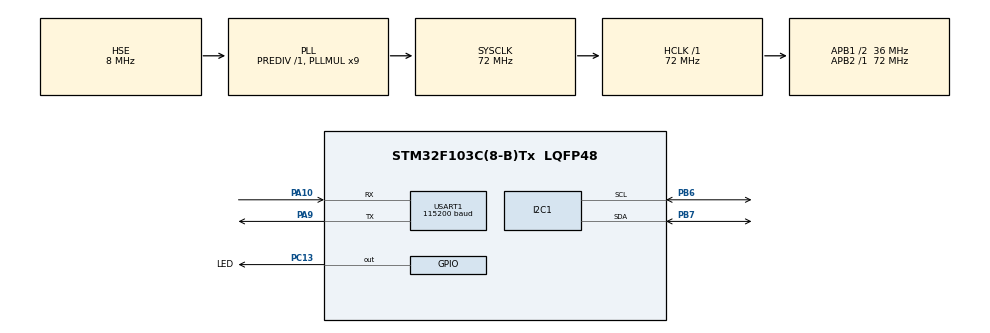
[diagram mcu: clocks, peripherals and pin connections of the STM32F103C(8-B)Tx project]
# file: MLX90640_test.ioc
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Dma.I2C1_RX.1.Direction=DMA_PERIPH_TO_MEMORY
Dma.I2C1_RX.1.Instance=DMA1_Channel7
Dma.I2C1_RX.1.MemDataAlignment=DMA_MDATAALIGN_BYTE
Dma.I2C1_RX.1.MemInc=DMA_MINC_ENABLE
Dma.I2C1_RX.1.Mode=DMA_NORMAL
Dma.I2C1_RX.1.PeriphDataAlignment=DMA_PDATAALIGN_BYTE
Dma.I2C1_RX.1.PeriphInc=DMA_PINC_DISABLE
Dma.I2C1_RX.1.Priority=DMA_PRIORITY_LOW
Dma.Request0=USART1_TX
Dma.Request1=I2C1_RX
Dma.USART1_TX.0.Direction=DMA_MEMORY_TO_PERIPH
Dma.USART1_TX.0.Instance=DMA1_Channel4
Dma.USART1_TX.0.MemDataAlignment=DMA_MDATAALIGN_BYTE
Dma.USART1_TX.0.MemInc=DMA_MINC_ENABLE
Dma.USART1_TX.0.Mode=DMA_NORMAL
Dma.USART1_TX.0.PeriphDataAlignment=DMA_PDATAALIGN_BYTE
Dma.USART1_TX.0.PeriphInc=DMA_PINC_DISABLE
Dma.USART1_TX.0.Priority=DMA_PRIORITY_LOW
I2C1.DutyCycle=I2C_DUTYCYCLE_16_9
I2C1.I2C_Mode=I2C_Fast
Mcu.Family=STM32F1
Mcu.Name=STM32F103C(8-B)Tx
Mcu.Package=LQFP48
NVIC.DMA1_Channel4_IRQn=true\:0\:0\:false\:false\:true\:false\:true\:true
NVIC.DMA1_Channel7_IRQn=true\:0\:0\:false\:false\:true\:false\:true\:true
NVIC.PriorityGroup=NVIC_PRIORITYGROUP_4
NVIC.USART1_IRQn=true\:0\:0\:false\:false\:true\:true\:true\:true
PA10.Mode=Asynchronous
PA10.Signal=USART1_RX
PA13.Mode=Serial_Wire
PA13.Signal=SYS_JTMS-SWDIO
PA14.Mode=Serial_Wire
PA14.Signal=SYS_JTCK-SWCLK
PA9.Mode=Asynchronous
PA9.Signal=USART1_TX
PB6.Mode=I2C
PB6.Signal=I2C1_SCL
PB7.Mode=I2C
PB7.Signal=I2C1_SDA
PC13-TAMPER-RTC.GPIO_Label=LED
PC13-TAMPER-RTC.Signal=GPIO_Output
PC14-OSC32_IN.Mode=LSE-External-Oscillator
PC14-OSC32_IN.Signal=RCC_OSC32_IN
PC15-OSC32_OUT.Mode=LSE-External-Oscillator
PC15-OSC32_OUT.Signal=RCC_OSC32_OUT
PD0-OSC_IN.Mode=HSE-External-Oscillator
PD0-OSC_IN.Signal=RCC_OSC_IN
PD1-OSC_OUT.Mode=HSE-External-Oscillator
PD1-OSC_OUT.Signal=RCC_OSC_OUT
ProjectManager.HeapSize=0x200
ProjectManager.StackSize=0x400
ProjectManager.TargetToolchain=STM32CubeIDE
RCC.AHBFreq_Value=72000000
RCC.APB1CLKDivider=RCC_HCLK_DIV2
RCC.APB1Freq_Value=36000000
RCC.APB1TimFreq_Value=72000000
RCC.APB2Freq_Value=72000000
RCC.APB2TimFreq_Value=72000000
RCC.HCLKFreq_Value=72000000
RCC.PLLMUL=RCC_PLL_MUL9
RCC.PLLSourceVirtual=RCC_PLLSOURCE_HSE
RCC.SYSCLKFreq_VALUE=72000000
RCC.SYSCLKSource=RCC_SYSCLKSOURCE_PLLCLK
RCC.USBFreq_Value=72000000
USART1.BaudRate=115200
USART1.VirtualMode=VM_ASYNC
board=custom

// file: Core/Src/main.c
/* USER CODE BEGIN Header */
/**
  ******************************************************************************
  * @file           : main.c
  * @brief          : Main program body
  ******************************************************************************
  * @attention
  *
  * Copyright (c) 2026 STMicroelectronics.
  * All rights reserved.
  *
  * This software is licensed under terms that can be found in the LICENSE file
  * in the root directory of this software component.
  * If no LICENSE file comes with this software, it is provided AS-IS.
  *
  ******************************************************************************
  */
/* USER CODE END Header */
#include "main.h"
#include "dma.h"
#include "i2c.h"
#include "usart.h"
#include "gpio.h"

/* USER CODE BEGIN Includes */
#include "MLX90640_API.h"
#include "MLX90640_I2C_Driver.h"
#include <stdint.h>
#include <string.h>
/* USER CODE END Includes */

/* USER CODE BEGIN PTD */
typedef struct
{
  uint16_t EeData[832];
  uint16_t FrameData[834];
  float TempMap[768];
  paramsMLX90640 Params;
} MLX90640_RuntimeData_t;

/* USER CODE END PTD */

/* USER CODE BEGIN PD */
#define UART_LINE_BUFFER_SIZE 512U

/* USER CODE END PD */

/* USER CODE BEGIN PV */
static MLX90640_RuntimeData_t mlx90640Runtime;
uint16_t i = 0;
uint16_t row = 0;
uint16_t col = 0;
float ta = 0.0;
float tr = 0.0;
int status = 0;
volatile uint8_t uartTxDone = 1;
static char uartLineBuffer[UART_LINE_BUFFER_SIZE];
static uint8_t mlx90640SensorReady[MLX90640_SENSOR_NUM];
/* USER CODE END PV */

void SystemClock_Config(void);
/* USER CODE BEGIN PFP */
static int MLX90640_InitSensor(void);
static int MLX90640_InitSensorOnChannel(uint8_t sensorIndex);
static int MLX90640_LoadParametersOnChannel(uint8_t sensorIndex);
static void UART_SendString(const char *text);
static void UART_SendInt(int value);
static void UART_SendHexByte(uint8_t value);
static void UART_SendHexWord(uint32_t value);
static void UART_SendInitError(uint8_t sensorIndex, const char *step, int error);
static uint16_t UART_AppendTemperature(char *buffer, uint16_t offset, uint16_t size, float temperature);
/* USER CODE END PFP */

/* USER CODE BEGIN 0 */
static int MLX90640_InitSensor(void)
{
  uint8_t initializedCount = 0U;

  for (uint8_t sensorIndex = 0U; sensorIndex < MLX90640_SENSOR_NUM; sensorIndex++)
  {
    int status = MLX90640_InitSensorOnChannel(sensorIndex);
    if (status != MLX90640_NO_ERROR)
    {
      mlx90640SensorReady[sensorIndex] = 0U;
      continue;
    }

    mlx90640SensorReady[sensorIndex] = 1U;
    initializedCount++;
    UART_SendString("MLX90640 init ok, sensor=");
    UART_SendInt(sensorIndex);
    UART_SendString(", channel=");
    UART_SendHexByte(MLX90640_GetSensorChannel(sensorIndex));
    UART_SendString("\r\n");
  }

  if (initializedCount == 0U)
  {
    return -MLX90640_I2C_WRITE_ERROR;
  }

  return MLX90640_NO_ERROR;
}

static int MLX90640_InitSensorOnChannel(uint8_t sensorIndex)
{
  int status;

  status = MLX90640_LoadParametersOnChannel(sensorIndex);
  if (status != MLX90640_NO_ERROR)
  {
    return status;
  }

  status = MLX90640_SetChessMode(MLX90640_ADDR);
  if (status != MLX90640_NO_ERROR)
  {
    UART_SendInitError(sensorIndex, "set chess mode", status);
    return status;
  }

  status = MLX90640_SetRefreshRate(MLX90640_ADDR, MLX90640_REF_1HZ);
  if (status != MLX90640_NO_ERROR)
  {
    UART_SendInitError(sensorIndex, "set refresh rate", status);
    return status;
  }

  return MLX90640_NO_ERROR;
}

static int MLX90640_LoadParametersOnChannel(uint8_t sensorIndex)
{
  int status;

  status = MLX90640_SelectSensor(sensorIndex);
  if (status != MLX90640_NO_ERROR)
  {
    UART_SendInitError(sensorIndex, "select TCA9548A channel", status);
    return status;
  }

  status = MLX90640_I2CProbe(MLX90640_ADDR);
  UART_SendString("MLX90640 probe, sensor=");
  UART_SendInt(sensorIndex);
  UART_SendString(", channel=");
  UART_SendHexByte(MLX90640_GetSensorChannel(sensorIndex));
  UART_SendString(", status=");
  UART_SendInt(status);
  UART_SendString(", hal=");
  UART_SendInt((int)MLX90640_GetLastHalStatus());
  UART_SendString(", err=");
  UART_SendHexWord(MLX90640_GetLastErrorCode());
  UART_SendString("\r\n");
  if (status != MLX90640_NO_ERROR)
  {
    return status;
  }

  status = MLX90640_DumpEE(MLX90640_ADDR, mlx90640Runtime.EeData);
  if (status != MLX90640_NO_ERROR)
  {
    UART_SendInitError(sensorIndex, "dump EEPROM", status);
    return status;
  }

  status = MLX90640_ExtractParameters(mlx90640Runtime.EeData, &mlx90640Runtime.Params);
  if (status != MLX90640_NO_ERROR)
  {
    UART_SendInitError(sensorIndex, "extract parameters", status);
  }

  return status;
}

static void UART_SendString(const char *text)
{
	uint16_t len = (uint16_t)strlen(text);

	    while (!uartTxDone)
	    {
	    }

	    uartTxDone = 0;
	    if (HAL_UART_Transmit_DMA(&huart1, (uint8_t *)text, len) != HAL_OK)
	    {
	        uartTxDone = 1;
	        return;
	    }

	    while (!uartTxDone)
	    {
	    }
}

void HAL_UART_TxCpltCallback(UART_HandleTypeDef *huart)
{
    if (huart->Instance == USART1)
    {
        uartTxDone = 1;
    }
}

static void UART_SendInt(int value)
{
  char buffer[12];
  uint32_t magnitude;
  uint32_t index = 0;
  uint32_t start = 0;
  char temp;

  if (value < 0)
  {
    buffer[index++] = '-';
    magnitude = (uint32_t)(-value);
    start = 1;
  }
  else
  {
    magnitude = (uint32_t)value;
  }

  do
  {
    buffer[index++] = (char)('0' + (magnitude % 10U));
    magnitude /= 10U;
  } while (magnitude > 0U);

  buffer[index] = '\0';

  for (uint32_t left = start, right = index - 1U; left < right; left++, right--)
  {
    temp = buffer[left];
    buffer[left] = buffer[right];
    buffer[right] = temp;
  }

  UART_SendString(buffer);
}

static void UART_SendHexByte(uint8_t value)
{
  static const char hexDigits[] = "0123456789ABCDEF";
  char buffer[5];

  buffer[0] = '0';
  buffer[1] = 'x';
  buffer[2] = hexDigits[(value >> 4) & 0x0FU];
  buffer[3] = hexDigits[value & 0x0FU];
  buffer[4] = '\0';

  UART_SendString(buffer);
}

static void UART_SendHexWord(uint32_t value)
{
  static const char hexDigits[] = "0123456789ABCDEF";
  char buffer[11];

  buffer[0] = '0';
  buffer[1] = 'x';
  for (uint8_t index = 0U; index < 8U; index++)
  {
    uint8_t shift = (uint8_t)(28U - (index * 4U));
    buffer[2U + index] = hexDigits[(value >> shift) & 0x0FU];
  }
  buffer[10] = '\0';

  UART_SendString(buffer);
}

static void UART_SendInitError(uint8_t sensorIndex, const char *step, int error)
{
  UART_SendString("MLX90640 init error, sensor=");
  UART_SendInt(sensorIndex);
  UART_SendString(", channel=");
  UART_SendHexByte(MLX90640_GetSensorChannel(sensorIndex));
  UART_SendString(", step=");
  UART_SendString(step);
  UART_SendString(", status=");
  UART_SendInt(error);
  UART_SendString(", hal=");
  UART_SendInt((int)TCA9548A_GetLastHalStatus());
  UART_SendString(", err=");
  UART_SendHexWord(TCA9548A_GetLastErrorCode());
  UART_SendString("\r\n");
}

static uint16_t UART_AppendTemperature(char *buffer, uint16_t offset, uint16_t size, float temperature)
{
  int32_t centiDegrees;
  int32_t absValue;
  uint32_t integerPart;
  uint32_t fractionPart;
  char temp[16];
  uint32_t index = 0;

  if (offset >= size)
  {
    return offset;
  }

  if (temperature >= 0.0f)
  {
    centiDegrees = (int32_t)(temperature * 100.0f + 0.5f);
  }
  else
  {
    centiDegrees = (int32_t)(temperature * 100.0f - 0.5f);
  }

  absValue = (centiDegrees < 0) ? -centiDegrees : centiDegrees;
  integerPart = (uint32_t)(absValue / 100);
  fractionPart = (uint32_t)(absValue % 100);

  if (centiDegrees < 0)
  {
    temp[index++] = '-';
  }

  if (integerPart >= 100U)
  {
    temp[index++] = (char)('0' + (integerPart / 100U) % 10U);
  }
  if (integerPart >= 10U)
  {
    temp[index++] = (char)('0' + (integerPart / 10U) % 10U);
  }
  temp[index++] = (char)('0' + (integerPart % 10U));
  temp[index++] = '.';
  temp[index++] = (char)('0' + (fractionPart / 10U));
  temp[index++] = (char)('0' + (fractionPart % 10U));
  temp[index++] = ' ';

  for (uint32_t copyIndex = 0; (copyIndex < index) && (offset < (size - 1U)); copyIndex++)
  {
    buffer[offset++] = temp[copyIndex];
  }

  buffer[offset] = '\0';
  return offset;
}

/* USER CODE END 0 */

int main(void)
{

  /* MCU Configuration--------------------------------------------------------*/

  /* Reset of all peripherals, Initializes the Flash interface and the Systick. */
  HAL_Init();

  /* Configure the system clock */
  SystemClock_Config();

  /* Initialize all configured peripherals */
  MX_GPIO_Init();
  MX_DMA_Init();
  MX_I2C1_Init();
  MX_USART1_UART_Init();
  /* USER CODE BEGIN 2 */
  if (MLX90640_InitSensor() != MLX90640_NO_ERROR)
  {
    UART_SendString("MLX90640 init failed\r\n");
    Error_Handler();
  }

  UART_SendString("MLX90640 initialized\r\n");
  HAL_GPIO_WritePin(LED_GPIO_Port,LED_Pin, GPIO_PIN_SET);
  /* USER CODE END 2 */

  /* Infinite loop */
  /* USER CODE BEGIN WHILE */
//  while (1)
  for(;;)
  {
    uint8_t subPageMask = 0U;
    uint8_t frameAttempts = 0U;

	HAL_GPIO_TogglePin(LED_GPIO_Port,LED_Pin);
    for (uint8_t sensorIndex = 0U; sensorIndex < MLX90640_SENSOR_NUM; sensorIndex++)
    {
      if (mlx90640SensorReady[sensorIndex] == 0U)
      {
        continue;
      }

      subPageMask = 0U;
      frameAttempts = 0U;

      status = MLX90640_LoadParametersOnChannel(sensorIndex);
      if (status != MLX90640_NO_ERROR)
      {
        mlx90640SensorReady[sensorIndex] = 0U;
        continue;
      }

      while ((subPageMask != 0x03U) && (frameAttempts < 4U))
      {
        status = MLX90640_GetFrameData(MLX90640_ADDR, mlx90640Runtime.FrameData);
        if (status < 0)
        {
          UART_SendString("Frame read error: ");
          UART_SendInt(status);
          UART_SendString("\r\n");
          break;
        }

        subPageMask |= (uint8_t)(1U << (mlx90640Runtime.FrameData[833] & 1U));
        ta = MLX90640_GetTa(mlx90640Runtime.FrameData, &mlx90640Runtime.Params);
        tr = ta - MLX90640_TA_SHIFT;
        MLX90640_CalculateTo(
            mlx90640Runtime.FrameData,
            &mlx90640Runtime.Params,
            MLX90640_EMISSIVITY,
            tr,
            mlx90640Runtime.TempMap);
        frameAttempts++;
      }

      if ((status < 0) || (subPageMask != 0x03U))
      {
        continue;
      }

      MLX90640_BadPixelsCorrection(
          mlx90640Runtime.Params.brokenPixels,
          mlx90640Runtime.TempMap,
          1,
          &mlx90640Runtime.Params);
      MLX90640_BadPixelsCorrection(
          mlx90640Runtime.Params.outlierPixels,
          mlx90640Runtime.TempMap,
          1,
          &mlx90640Runtime.Params);

      UART_SendString("----- Sensor ");
      UART_SendInt(sensorIndex);
      UART_SendString(" Temperature Matrix -----\r\n");
      for (row = 0; row < 24; row++)
      {
        uint16_t lineOffset = 0;

        for (col = 0; col < 32; col++)
        {
          i = (uint16_t)(row * 32U + col);
          lineOffset = UART_AppendTemperature(
              uartLineBuffer,
              lineOffset,
              UART_LINE_BUFFER_SIZE,
              mlx90640Runtime.TempMap[i]);
        }

        if (lineOffset < (UART_LINE_BUFFER_SIZE - 2U))
        {
          uartLineBuffer[lineOffset++] = '\r';
          uartLineBuffer[lineOffset++] = '\n';
        }
        uartLineBuffer[lineOffset] = '\0';
        UART_SendString(uartLineBuffer);
      }
      UART_SendString("----- Sensor ");
      UART_SendInt(sensorIndex);
      UART_SendString(" Temperature Matrix End -----\r\n");
    }
    HAL_Delay(125);

    /* USER CODE END WHILE */

  }
}

void SystemClock_Config(void)
{
  RCC_OscInitTypeDef RCC_OscInitStruct = {0};
  RCC_ClkInitTypeDef RCC_ClkInitStruct = {0};

  /** Initializes the RCC Oscillators according to the specified parameters
  * in the RCC_OscInitTypeDef structure.
  */
  RCC_OscInitStruct.OscillatorType = RCC_OSCILLATORTYPE_HSE;
  RCC_OscInitStruct.HSEState = RCC_HSE_ON;
  RCC_OscInitStruct.HSEPredivValue = RCC_HSE_PREDIV_DIV1;
  RCC_OscInitStruct.HSIState = RCC_HSI_ON;
  RCC_OscInitStruct.PLL.PLLState = RCC_PLL_ON;
  RCC_OscInitStruct.PLL.PLLSource = RCC_PLLSOURCE_HSE;
  RCC_OscInitStruct.PLL.PLLMUL = RCC_PLL_MUL9;
  if (HAL_RCC_OscConfig(&RCC_OscInitStruct) != HAL_OK)
  {
    Error_Handler();
  }

  /** Initializes the CPU, AHB and APB buses clocks
  */
  RCC_ClkInitStruct.ClockType = RCC_CLOCKTYPE_HCLK|RCC_CLOCKTYPE_SYSCLK
                              |RCC_CLOCKTYPE_PCLK1|RCC_CLOCKTYPE_PCLK2;
  RCC_ClkInitStruct.SYSCLKSource = RCC_SYSCLKSOURCE_PLLCLK;
  RCC_ClkInitStruct.AHBCLKDivider = RCC_SYSCLK_DIV1;
  RCC_ClkInitStruct.APB1CLKDivider = RCC_HCLK_DIV2;
  RCC_ClkInitStruct.APB2CLKDivider = RCC_HCLK_DIV1;

  if (HAL_RCC_ClockConfig(&RCC_ClkInitStruct, FLASH_LATENCY_2) != HAL_OK)
  {
    Error_Handler();
  }
}

void Error_Handler(void)
{
  __disable_irq();
  while (1)
  {
  }
}
